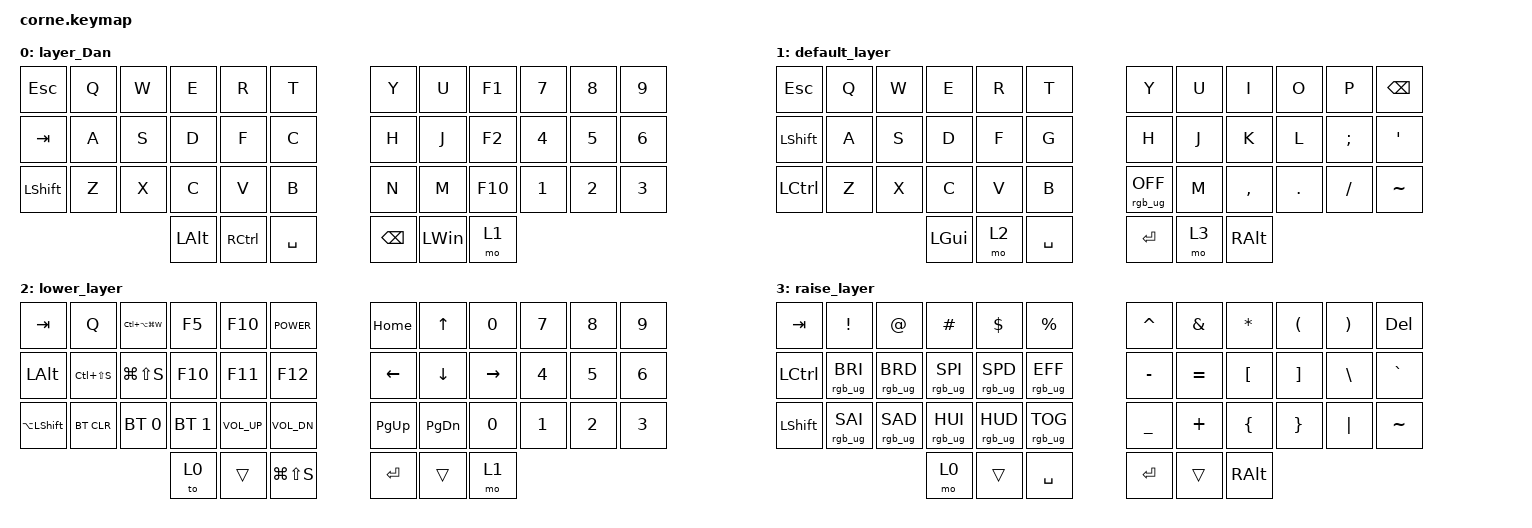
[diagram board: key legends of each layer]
/*
 * Copyright (c) 2020 The ZMK Contributors
 *
 * SPDX-License-Identifier: MIT
 */

#include <behaviors.dtsi>
#include <dt-bindings/zmk/bt.h>
#include <dt-bindings/zmk/keys.h>
#include <dt-bindings/zmk/rgb.h>

&led_strip { chain-length = <27>; };

/ {
    keymap {
        compatible = "zmk,keymap";

        layer_Dan {
            bindings = <
&kp ESC         &kp Q  &kp W  &kp E         &kp R      &kp T        &kp Y          &kp U     &kp F1   &kp NUMBER_7  &kp NUMBER_8  &kp NUMBER_9
&kp TAB         &kp A  &kp S  &kp D         &kp F      &kp C        &kp H          &kp J     &kp F2   &kp N4        &kp NUMBER_5  &kp NUMBER_6
&kp LEFT_SHIFT  &kp Z  &kp X  &kp C         &kp V      &kp B        &kp N          &kp M     &kp F10  &kp N1        &kp N2        &kp N3
                              &kp LEFT_ALT  &kp RCTRL  &kp SPACE    &kp BACKSPACE  &kp LWIN  &mo 1
            >;
        };

        default_layer {
            // -----------------------------------------------------------------------------------------
            // |  TAB |  Q  |  W  |  E  |  R  |  T  |   |  Y  |  U   |  I  |  O  |  P  | BSPC |
            // | CTRL |  A  |  S  |  D  |  F  |  G  |   |  H  |  J   |  K  |  L  |  ;  |  '   |
            // | SHFT |  Z  |  X  |  C  |  V  |  B  |   |  N  |  M   |  ,  |  .  |  /  | ESC  |
            //                    | GUI | LWR | SPC |   | ENT | RSE  | ALT |

            bindings = <
&kp ESCAPE      &kp Q  &kp W  &kp E     &kp R  &kp T        &kp Y            &kp U  &kp I      &kp O    &kp P     &kp BSPC
&kp LEFT_SHIFT  &kp A  &kp S  &kp D     &kp F  &kp G        &kp H            &kp J  &kp K      &kp L    &kp SEMI  &kp SQT
&kp LCTRL       &kp Z  &kp X  &kp C     &kp V  &kp B        &rgb_ug RGB_OFF  &kp M  &kp COMMA  &kp DOT  &kp FSLH  &kp TILDE
                              &kp LGUI  &mo 2  &kp SPACE    &kp RET          &mo 3  &kp RALT
            >;
        };

        lower_layer {
            // -----------------------------------------------------------------------------------------
            // |  TAB |  1  |  2  |  3  |  4  |  5  |   |  6  |  7  |  8  |  9  |  0  | BSPC |
            // | BTCLR| BT1 | BT2 | BT3 | BT4 | BT5 |   | LFT | DWN |  UP | RGT |     |      |
            // | SHFT |     |     |     |     |     |   |     |     |     |     |     |      |
            //                    | GUI |     | SPC |   | ENT |     | ALT |

            bindings = <
&kp TAB        &kp Q          &kp LC(LA(LG(W)))  &kp F5        &kp F10          &kp C_POWER      &kp HOME        &kp UP_ARROW    &kp NUMBER_0     &kp NUMBER_7  &kp N8        &kp NUMBER_9
&kp LEFT_ALT   &kp LC(LS(S))  &kp LG(LS(S))      &kp F10       &kp F11          &kp F12          &kp LEFT_ARROW  &kp DOWN_ARROW  &kp RIGHT_ARROW  &kp NUMBER_4  &kp N5        &kp NUMBER_6
&kp LA(LSHFT)  &bt BT_CLR     &bt BT_SEL 0       &bt BT_SEL 1  &kp C_VOLUME_UP  &kp C_VOL_DN     &kp PG_UP       &kp PAGE_DOWN   &kp NUMBER_0     &kp NUMBER_1  &kp NUMBER_2  &kp NUMBER_3
                                                 &to 0         &trans           &kp LG(LS(S))    &kp RET         &trans          &mo 1
            >;
        };

        raise_layer {
            // -----------------------------------------------------------------------------------------
            // |  TAB |  !  |  @  |  #  |  $  |  %  |   |  ^  |  &  |  *  |  (  |  )  | BSPC |
            // | CTRL |     |     |     |     |     |   |  -  |  =  |  [  |  ]  |  \  |  `   |
            // | SHFT |     |     |     |     |     |   |  _  |  +  |  {  |  }  | "|" |  ~   |
            //                    | GUI |     | SPC |   | ENT |     | ALT |

            bindings = <
&kp TAB    &kp EXCL         &kp AT           &kp HASH         &kp DLLR         &kp PRCNT          &kp CARET  &kp AMPS   &kp ASTRK  &kp LPAR  &kp RPAR  &kp DELETE
&kp LCTRL  &rgb_ug RGB_BRI  &rgb_ug RGB_BRD  &rgb_ug RGB_SPI  &rgb_ug RGB_SPD  &rgb_ug RGB_EFF    &kp MINUS  &kp EQUAL  &kp LBKT   &kp RBKT  &kp BSLH  &kp GRAVE
&kp LSHFT  &rgb_ug RGB_SAI  &rgb_ug RGB_SAD  &rgb_ug RGB_HUI  &rgb_ug RGB_HUD  &rgb_ug RGB_TOG    &kp UNDER  &kp PLUS   &kp LBRC   &kp RBRC  &kp PIPE  &kp TILDE
                                             &mo 0            &trans           &kp SPACE          &kp RET    &trans     &kp RALT
            >;
        };
    };
};
